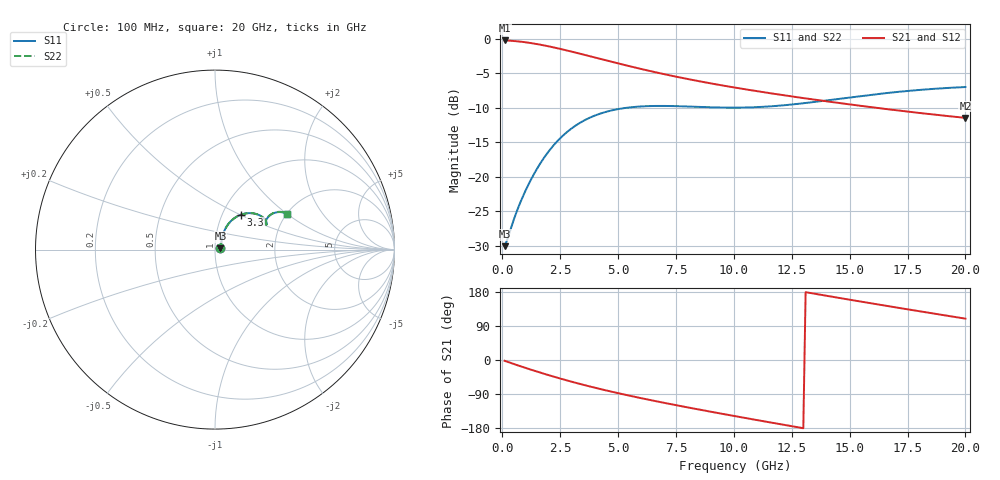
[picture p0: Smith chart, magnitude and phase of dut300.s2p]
! Touchstone file exported from HFSS 2024.1.0
!  File:  C:/UserFiles/LocalFiles/RDL_TSV_Batchsim/temp_RDL_TSV_300_1779624778.aedt
!  Generated:  08:30:27 PM May 24, 2026
!  Design:  RDL_TSV
!  Project:  temp_RDL_TSV_300_1779624778
!  Setup:  Setup1
!  Solution:  Sweep
! Variables:
!  dtsv = 9.12um
!  hbump = 3um
!  htsv = 75.57um
!  ldown = 298.42um
!  lrdl = 681.4um
!  p = 40
!  p1 = 50.48um
!  rhole = 10um
!  subl = 3620.86um
!  t = 450um
!  tdown = 3.07um
!  trdl = 2.56um
!  viad = 10um
!  wdown = 24.23um
!  wrdl = 14.19um
!  xbump = 18um
# GHz S MA R 50.000000
! Terminal data exported
! Port[1] = TM1_1_T1
! Port[2] = TM1_4_T1
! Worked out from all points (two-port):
!   200 points, 100 MHz to 20 GHz, reference 50 ohm
!   highest |S21| = -0.27 dB at 100 MHz (marker M1); lowest = -11.5 dB at 20 GHz (marker M2)
!   |S21| within 3 dB of the highest: start of sweep to 4.626 GHz
!   lowest |S11| = -30.0 dB at 100 MHz (marker M3), VSWR 1.07, Z = 53.2 + j0.796 ohm
!   |S11| at or under -10 dB: start of sweep to 5.392 GHz
!   |S22| runs from -30.0 to -7.0 dB; largest |S21 - S12| = 9e-15
!   S11 on the Smith chart (normalised r, x): 100 MHz: 1.06, +0.02; 3.3 GHz: 1.22, +0.51; 20 GHz: 2.00, +1.00
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0.1  0.03153 13.7  0.9692 -2.2  0.9692 -2.2  0.03153 13.7
! Gamma 0 0 0 0
! Port Impedance 50 0 50 0
0.4  0.04391 40.6  0.9634 -8.5  0.9634 -8.5  0.04392 40.6
0.8  0.06662 55.2  0.9494 -16.8  0.9494 -16.8  0.06662 55.2
1.1  0.08598 60.5  0.9352 -22.8  0.9352 -22.8  0.08599 60.5
1.5  0.1146 63.4  0.9123 -30.6  0.9123 -30.6  0.1146 63.3
1.9  0.145 63.3  0.886 -38.1  0.886 -38.1  0.1449 63.3
2.4  0.1829 60.8  0.8499 -47.2  0.8499 -47.2  0.1828 60.7
2.8  0.2113 57.7  0.8198 -54.1  0.8198 -54.1  0.2113 57.7
3.3  0.2428 53.3  0.7817 -62.3  0.7817 -62.3  0.2427 53.3
3.5  0.2539 51.5  0.7666 -65.5  0.7666 -65.5  0.2538 51.5
4.2  0.2856 45.4  0.7155 -76.2  0.7155 -76.2  0.2854 45.3
5.1  0.3111 38.4  0.6553 -88.9  0.6553 -88.9  0.3108 38.4
5.9  0.3222 33.5  0.608 -99.5  0.608 -99.5  0.3219 33.5
6.8  0.3258 29.5  0.5618 -110.7  0.5618 -110.7  0.3254 29.5
8.4  0.3209 26.1  0.4951 -129.6  0.4951 -129.6  0.3203 26.1
10.1  0.3167 26.7  0.4406 -148.7  0.4406 -148.7  0.316 26.8
11.7  0.3245 29.2  0.3996 -166.1  0.3996 -166.1  0.324 29.3
13.4  0.3468 31.5  0.3633 175.8  0.3633 175.8  0.3465 31.6
15.1  0.377 32.0  0.3325 158.1  0.3325 158.1  0.3771 32.2
16.7  0.4054 30.9  0.3076 141.8  0.3076 141.8  0.4058 31.1
18.3  0.4289 29.0  0.2862 125.8  0.2862 125.8  0.4297 29.1
20  0.4463 26.5  0.2671 109.1  0.2671 109.1  0.4473 26.7
